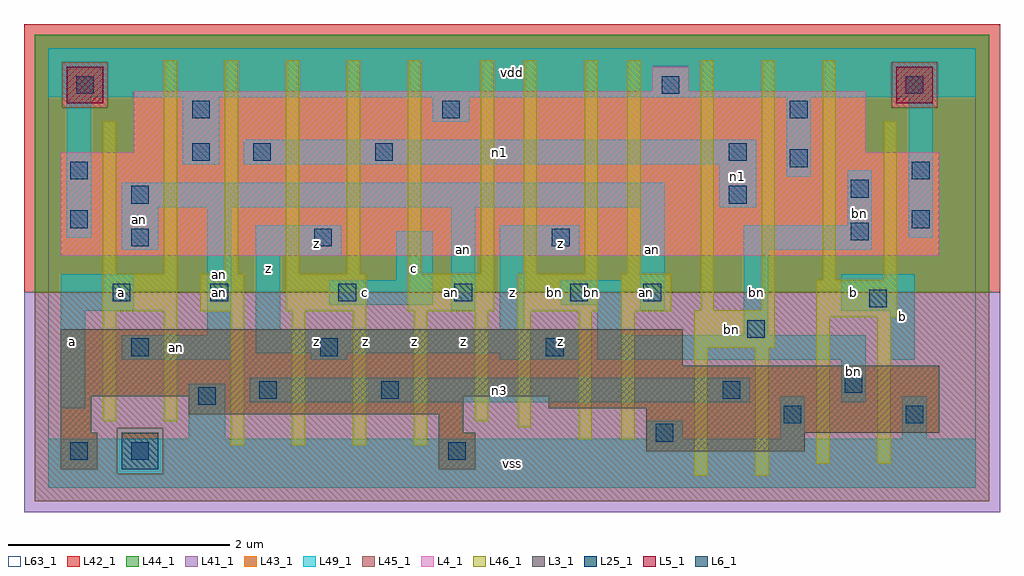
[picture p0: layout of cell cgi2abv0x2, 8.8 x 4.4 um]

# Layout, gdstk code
import gdstk
lib = gdstk.Library(unit=1e-6, precision=1e-09)
def R(c, l, rs):  # rectangles x0, y0, x1, y1
    for r in rs: c.add(gdstk.rectangle(r[:2], r[2:], *l))
def A(c, l, x, y, w, h, nx, ny, dx, dy):  # array of equal rectangles
    R(c, l, [(x+i*dx, y+j*dy, x+i*dx+w, y+j*dy+h) for i in range(nx) for j in range(ny)])
L3_1 = (3, 1)
L4_1 = (4, 1)
L5_1 = (5, 1)
L6_1 = (6, 1)
L25_1 = (25, 1)
L41_1 = (41, 1)
L42_1 = (42, 1)
L43_1 = (43, 1)
L44_1 = (44, 1)
L45_1 = (45, 1)
L46_1 = (46, 1)
L49_1 = (49, 1)
L63_1 = (63, 1)

cgi2abv0x2 = lib.new_cell('cgi2abv0x2')
R(cgi2abv0x2, L3_1, [(0.11,0.165,0.44,0.495), (3.52,0.165,3.85,0.495), (5.39,0.33,6.82,0.495), (0.11,0.495,0.385,0.825), (3.52,0.495,3.74,0.66), (5.39,0.495,8.03,0.715), (1.265,0.66,3.74,0.825), (4.51,0.715,8.03,0.825), (0.11,0.825,8.03,1.1), (0.11,1.1,5.72,1.43)])
R(cgi2abv0x2, L4_1, [(0.11,2.09,8.03,3.025), (0.77,3.025,7.37,3.575), (5.445,3.575,5.775,3.795)])
R(cgi2abv0x2, L5_1, [(0.165,3.465,0.495,3.795), (7.645,3.465,7.975,3.795)])
R(cgi2abv0x2, L6_1, [(0.66,0.165,0.99,0.495)])
A(cgi2abv0x2, L25_1, 2.615, 1.68, 0.16, 0.16, 3, 1, 1.045, 0)
R(cgi2abv0x2, L25_1, [(0.195,0.25,0.355,0.41), (0.745,0.25,0.905,0.41), (3.605,0.25,3.765,0.41), (5.475,0.415,5.635,0.575), (6.63,0.58,6.79,0.74), (7.73,0.58,7.89,0.74), (1.35,0.745,1.51,0.905), (1.9,0.8,2.06,0.96), (3,0.8,3.16,0.96), (6.08,0.8,6.24,0.96), (7.18,0.855,7.34,1.015), (0.745,1.185,0.905,1.345), (2.45,1.185,2.61,1.345), (4.485,1.185,4.645,1.345), (6.3,1.35,6.46,1.51), (7.4,1.625,7.56,1.785), (0.58,1.68,0.74,1.84), (1.46,1.68,1.62,1.84), (5.365,1.68,5.525,1.84), (0.745,2.175,0.905,2.335), (2.395,2.175,2.555,2.335), (4.54,2.175,4.7,2.335), (7.235,2.23,7.395,2.39), (0.195,2.34,0.355,2.5), (7.785,2.34,7.945,2.5), (0.745,2.56,0.905,2.72), (6.135,2.56,6.295,2.72), (7.235,2.615,7.395,2.775), (0.195,2.78,0.355,2.94), (7.785,2.78,7.945,2.94), (6.685,2.89,6.845,3.05), (1.295,2.945,1.455,3.105), (1.845,2.945,2.005,3.105), (2.945,2.945,3.105,3.105), (6.135,2.945,6.295,3.105), (1.295,3.33,1.455,3.49), (3.55,3.33,3.71,3.49), (6.685,3.33,6.845,3.49), (0.25,3.55,0.41,3.71), (5.53,3.55,5.69,3.71), (7.73,3.55,7.89,3.71)])
R(cgi2abv0x2, L41_1, [(-0.22,-0.22,8.58,1.76)])
R(cgi2abv0x2, L42_1, [(-0.22,1.76,8.58,4.18)])
R(cgi2abv0x2, L43_1, [(0.11,0.165,0.44,0.495), (0.66,0.165,0.99,0.495), (3.52,0.165,3.85,0.495), (5.39,0.33,6.82,0.495), (0.11,0.495,0.385,0.825), (3.52,0.495,3.74,0.66), (5.39,0.495,8.03,0.715), (1.265,0.66,3.74,0.825), (4.51,0.715,8.03,0.825), (0.11,0.825,8.03,1.1), (0.11,1.1,5.72,1.43), (0.11,2.09,8.03,3.025), (0.77,3.025,7.37,3.575), (0.165,3.465,0.495,3.795), (7.645,3.465,7.975,3.795), (5.445,3.575,5.775,3.795)])
R(cgi2abv0x2, L44_1, [(0.62,0.125,1.03,0.535), (-0.125,1.76,8.485,3.425), (-0.125,3.425,0.125,3.835), (0.535,3.425,7.605,3.835), (8.015,3.425,8.485,3.835), (-0.125,3.835,8.485,4.085)])
R(cgi2abv0x2, L45_1, [(-0.125,-0.125,8.485,0.125), (-0.125,0.125,0.62,0.535), (1.03,0.125,8.485,0.535), (-0.125,0.535,8.485,1.76), (0.125,3.425,0.535,3.835), (7.605,3.425,8.015,3.835)])
A(cgi2abv0x2, L46_1, 1.645, 0.38, 0.12, 1.21, 4, 1, 0.55, 0)
A(cgi2abv0x2, L46_1, 1.04, 1.93, 0.12, 1.925, 5, 1, 0.55, 0)
R(cgi2abv0x2, L46_1, [(5.825,0.105,5.945,1.26), (6.375,0.105,6.495,1.26), (6.925,0.215,7.045,1.535), (7.475,0.215,7.595,1.535), (4.78,0.435,4.9,1.59), (5.165,0.435,5.285,1.59), (4.23,0.545,4.35,1.59), (0.49,0.6,0.61,1.59), (1.04,0.6,1.16,1.59), (3.845,0.6,3.965,1.59), (5.825,1.26,6.55,1.6), (6.925,1.535,7.65,1.875), (0.49,1.59,1.16,1.93), (1.37,1.59,1.765,1.93), (2.14,1.59,2.865,1.93), (3.24,1.59,4.02,1.93), (4.23,1.59,4.955,1.93), (5.165,1.59,5.615,1.93), (5.88,1.6,6,3.855), (6.43,1.6,6.55,3.855), (6.98,1.875,7.1,3.855), (7.53,1.875,7.65,3.305), (0.49,1.93,0.61,3.305), (3.9,1.93,4.02,3.855), (4.285,1.93,4.405,3.855), (4.835,1.93,4.955,3.855), (5.22,1.93,5.34,3.855)])
R(cgi2abv0x2, L49_1, [(0,0,8.36,0.44), (1.265,0.44,1.595,0.935), (5.39,0.44,5.72,0.605), (6.6,0.44,6.82,0.825), (7.7,0.44,7.92,0.825), (0.11,0.715,0.33,1.595), (1.815,0.77,6.325,0.99), (7.15,0.77,7.37,1.155), (0.66,1.155,1.65,1.375), (2.365,1.155,2.695,1.21), (4.07,1.155,4.785,1.21), (4.95,1.155,7.37,1.375), (7.59,1.155,7.81,1.595), (1.87,1.21,4.785,1.43), (1.43,1.375,1.65,2.53), (4.95,1.375,5.17,1.65), (6.27,1.375,6.49,2.145), (1.87,1.43,2.09,2.09), (4.07,1.43,4.29,2.09), (0.11,1.595,0.77,1.925), (3.63,1.595,3.85,2.53), (5.335,1.595,5.555,2.53), (7.15,1.595,7.81,1.925), (2.53,1.65,3.465,1.87), (4.62,1.65,5.17,1.87), (3.135,1.87,3.465,2.31), (1.87,2.09,2.64,2.365), (4.07,2.09,4.785,2.365), (0.66,2.145,0.99,2.53), (6.27,2.145,7.425,2.365), (0.165,2.255,0.385,3.52), (7.755,2.255,7.975,3.52), (7.205,2.365,7.425,2.86), (0.66,2.53,5.555,2.75), (6.05,2.53,6.38,2.915), (6.655,2.805,6.875,3.52), (1.21,2.915,1.54,3.52), (1.76,2.915,6.38,3.135), (3.465,3.3,3.795,3.52), (0,3.52,8.36,3.96)])
R(cgi2abv0x2, L63_1, [(0,0,8.36,3.96)])
cgi2abv0x2.add(gdstk.Label('an', (1.54,1.76), layer=49, texttype=1))
cgi2abv0x2.add(gdstk.Label('an', (3.63,1.76), layer=46, texttype=1))
cgi2abv0x2.add(gdstk.Label('an', (5.39,1.76), layer=49, texttype=1))
cgi2abv0x2.add(gdstk.Label('bn', (4.565,1.76), layer=46, texttype=1))
cgi2abv0x2.add(gdstk.Label('bn', (6.16,1.43), layer=46, texttype=1))
cgi2abv0x2.add(gdstk.Label('a', (0.22,1.32), layer=49, texttype=1))
cgi2abv0x2.add(gdstk.Label('a', (0.66,1.76), layer=49, texttype=1))
cgi2abv0x2.add(gdstk.Label('an', (0.825,2.42), layer=49, texttype=1))
cgi2abv0x2.add(gdstk.Label('an', (1.155,1.265), layer=49, texttype=1))
cgi2abv0x2.add(gdstk.Label('z', (2.86,1.32), layer=49, texttype=1))
cgi2abv0x2.add(gdstk.Label('z', (2.42,1.32), layer=49, texttype=1))
cgi2abv0x2.add(gdstk.Label('c', (2.86,1.76), layer=49, texttype=1))
cgi2abv0x2.add(gdstk.Label('z', (2.42,2.2), layer=49, texttype=1))
cgi2abv0x2.add(gdstk.Label('z', (1.98,1.98), layer=49, texttype=1))
cgi2abv0x2.add(gdstk.Label('an', (1.54,1.925), layer=49, texttype=1))
cgi2abv0x2.add(gdstk.Label('vss', (4.18,0.22), layer=49, texttype=1))
cgi2abv0x2.add(gdstk.Label('z', (3.3,1.32), layer=49, texttype=1))
cgi2abv0x2.add(gdstk.Label('z', (4.62,1.32), layer=49, texttype=1))
cgi2abv0x2.add(gdstk.Label('z', (3.74,1.32), layer=49, texttype=1))
cgi2abv0x2.add(gdstk.Label('z', (4.18,1.76), layer=49, texttype=1))
cgi2abv0x2.add(gdstk.Label('c', (3.3,1.98), layer=49, texttype=1))
cgi2abv0x2.add(gdstk.Label('z', (4.62,2.2), layer=49, texttype=1))
cgi2abv0x2.add(gdstk.Label('an', (3.74,2.145), layer=49, texttype=1))
cgi2abv0x2.add(gdstk.Label('vdd', (4.18,3.74), layer=49, texttype=1))
cgi2abv0x2.add(gdstk.Label('n3', (4.07,0.88), layer=49, texttype=1))
cgi2abv0x2.add(gdstk.Label('bn', (4.895,1.76), layer=49, texttype=1))
cgi2abv0x2.add(gdstk.Label('an', (5.445,2.145), layer=49, texttype=1))
cgi2abv0x2.add(gdstk.Label('bn', (6.38,1.76), layer=49, texttype=1))
cgi2abv0x2.add(gdstk.Label('n1', (6.215,2.805), layer=49, texttype=1))
cgi2abv0x2.add(gdstk.Label('n1', (4.07,3.025), layer=49, texttype=1))
cgi2abv0x2.add(gdstk.Label('bn', (7.26,1.045), layer=49, texttype=1))
cgi2abv0x2.add(gdstk.Label('b', (7.7,1.54), layer=49, texttype=1))
cgi2abv0x2.add(gdstk.Label('b', (7.26,1.76), layer=49, texttype=1))
cgi2abv0x2.add(gdstk.Label('bn', (7.315,2.475), layer=49, texttype=1))

lib.write_gds('cgi2abv0x2.gds')
